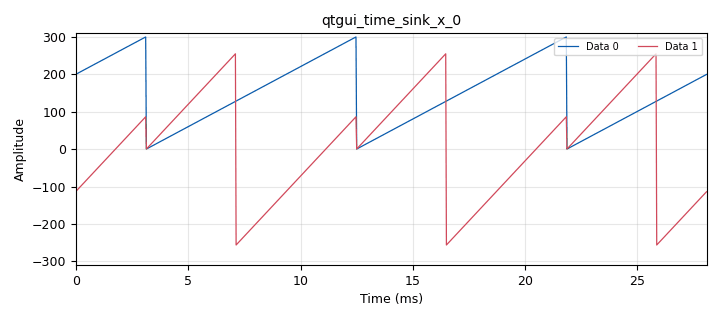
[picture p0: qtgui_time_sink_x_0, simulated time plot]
<?xml version='1.0' encoding='utf-8'?>
<?grc format='1' created='3.7.7'?>
<flow_graph>
<block>
<key>options</key>
<param><key>id</key><value>blocks_endian</value></param>
<param><key>generate_options</key><value>qt_gui</value></param>
<param><key>category</key><value>Custom</value></param>
</block>
<block>
<key>variable</key>
<param><key>id</key><value>samp_rate</value></param>
<param><key>value</key><value>32000</value></param>
</block>
<block>
<key>blocks_vector_source_x</key>
<param><key>id</key><value>blocks_vector_source_x_0</value></param>
<param><key>type</key><value>short</value></param>
<param><key>vector</key><value>range(300)</value></param>
<param><key>repeat</key><value>True</value></param>
</block>
<block>
<key>blocks_throttle</key>
<param><key>id</key><value>blocks_throttle_0</value></param>
<param><key>type</key><value>short</value></param>
<param><key>samples_per_second</key><value>samp_rate</value></param>
</block>
<block>
<key>qtgui_time_sink_x</key>
<param><key>id</key><value>qtgui_time_sink_x_0</value></param>
<param><key>type</key><value>float</value></param>
<param><key>size</key><value>900</value></param>
<param><key>srate</key><value>samp_rate</value></param>
<param><key>ymin</key><value>-310</value></param>
<param><key>ymax</key><value>310</value></param>
<param><key>nconnections</key><value>2</value></param>
<param><key>label1</key><value></value></param>
<param><key>color1</key><value>"blue"</value></param>
<param><key>label2</key><value></value></param>
<param><key>color2</key><value>"red"</value></param>
</block>
<block>
<key>blocks_endian_swap</key>
<param><key>id</key><value>blocks_endian_swap_0</value></param>
<param><key>type</key><value>s16</value></param>
</block>
<block>
<key>blocks_short_to_float</key>
<param><key>id</key><value>blocks_short_to_float_1</value></param>
<param><key>scale</key><value>128</value></param>
</block>
<block>
<key>blocks_short_to_float</key>
<param><key>id</key><value>blocks_short_to_float_0</value></param>
<param><key>scale</key><value>1</value></param>
</block>
<connection><source_block_id>blocks_vector_source_x_0</source_block_id><sink_block_id>blocks_throttle_0</sink_block_id><source_key>0</source_key><sink_key>0</sink_key></connection>
<connection><source_block_id>blocks_throttle_0</source_block_id><sink_block_id>blocks_endian_swap_0</sink_block_id><source_key>0</source_key><sink_key>0</sink_key></connection>
<connection><source_block_id>blocks_throttle_0</source_block_id><sink_block_id>blocks_short_to_float_0</sink_block_id><source_key>0</source_key><sink_key>0</sink_key></connection>
<connection><source_block_id>blocks_short_to_float_0</source_block_id><sink_block_id>qtgui_time_sink_x_0</sink_block_id><source_key>0</source_key><sink_key>0</sink_key></connection>
<connection><source_block_id>blocks_short_to_float_1</source_block_id><sink_block_id>qtgui_time_sink_x_0</sink_block_id><source_key>0</source_key><sink_key>1</sink_key></connection>
<connection><source_block_id>blocks_endian_swap_0</source_block_id><sink_block_id>blocks_short_to_float_1</sink_block_id><source_key>0</source_key><sink_key>0</sink_key></connection>
</flow_graph>
